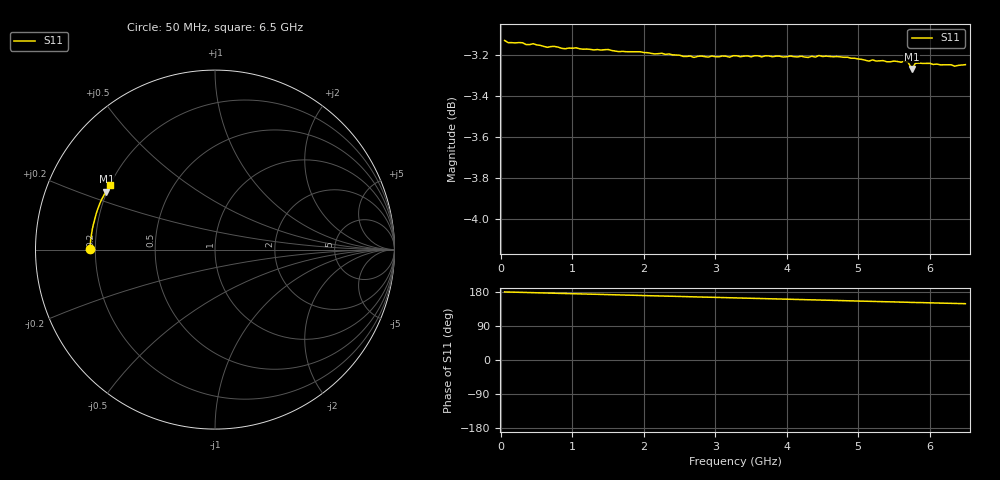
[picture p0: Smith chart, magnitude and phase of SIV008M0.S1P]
! (c) 1999  Infineon Technologies AG, Munich
! Infineon Technologies  Discrete & RF Semiconductors
! BAT24-02LS
! Si Schottky Diode in TSSLP-2
! IF = 8 mA
! S-Parameters:  July  2007
# GHz  S  MA  R  50
!  f  S11
! GHz  MAG  ANG
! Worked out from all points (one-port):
!   130 points, 50 MHz to 6.5 GHz, reference 50 ohm
!   lowest |S11| = -3.3 dB at 5.75 GHz (marker M1), VSWR 5.37, Z = 9.86 + j12.1 ohm
!   |S11| at or under -10 dB: nowhere
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0.05  0.6973 179.6
0.15  0.6965 179.2
0.45  0.696 177.7
0.55  0.6954 177.1
0.65  0.6946 176.7
0.9  0.6941 175.4
1  0.6943 175.0
1.25  0.6938 173.7
1.35  0.6938 173.3
1.7  0.6931 171.5
1.8  0.6929 171.1
2.4  0.6917 168.1
2.5  0.6916 167.7
2.75  0.6911 166.4
2.85  0.6911 166.0
3.3  0.6914 163.8
4.1  0.691 160.0
4.45  0.6915 158.3
4.9  0.6904 156.1
5.05  0.69 155.3
5.15  0.6893 154.9
5.35  0.6895 153.9
5.4  0.689 153.8
5.7  0.6887 152.3
5.75  0.6863 151.9
5.8  0.6884 151.8
5.85  0.6885 151.6
6.5  0.6879 148.6
